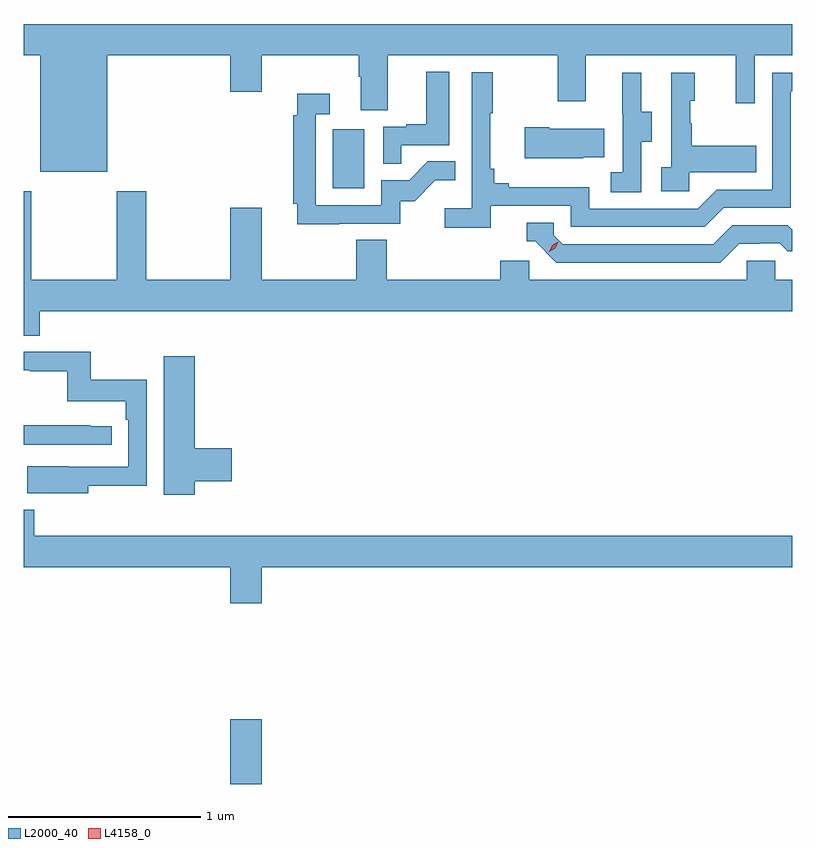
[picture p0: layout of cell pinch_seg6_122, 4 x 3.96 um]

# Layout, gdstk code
import gdstk
lib = gdstk.Library(unit=1e-6, precision=1e-09)
def R(c, l, rs):  # rectangles x0, y0, x1, y1
    for r in rs: c.add(gdstk.rectangle(r[:2], r[2:], *l))
def P(c, l, *ps):  # polygons
    for p in ps: c.add(gdstk.Polygon(p, *l))
L2000_40 = (2000, 40)
L4158_0 = (4158, 0)

pinch_seg6_122 = lib.new_cell('pinch_seg6_122')
R(pinch_seg6_122, L2000_40, [(980.192,932.886,980.356,933.223), (980.726,935.988,980.89,936.295)])
P(pinch_seg6_122, L2000_40, [(979.552,936.68),(980.192,936.68),(980.192,936.492),(980.356,936.492),(980.356,936.68),(980.861,936.68),(980.861,936.568),(980.873,936.568),(980.873,936.394),(981.013,936.394),(981.013,936.68),(981.898,936.68),(981.898,936.441),(982.045,936.441),(982.045,936.68),(982.826,936.68),(982.826,936.432),(982.923,936.432),(982.923,936.68),(983.118,936.68),(983.118,936.844),(979.118,936.844),(979.118,936.68),(979.202,936.68),(979.202,936.074),(979.552,936.074)],
  [(981.083,936.213),(981.334,936.213),(981.334,936.595),(981.212,936.595),(981.212,936.322),(981.109,936.322),(981.109,936.309),(980.988,936.309),(980.988,936.115),(981.083,936.115)],
  [(981.548,935.898),(981.966,935.898),(981.966,935.787),(982.663,935.787),(982.762,935.886),(983.112,935.886),(983.112,936.495),(983.118,936.495),(983.118,936.591),(983.016,936.591),(983.016,935.982),(982.725,935.982),(982.626,935.883),(982.062,935.883),(982.062,935.995),(981.643,935.995),(981.643,936.014),(981.566,936.014),(981.566,936.091),(981.547,936.091),(981.547,936.379),(981.559,936.379),(981.559,936.592),(981.45,936.592),(981.45,935.884),(981.309,935.884),(981.309,935.782),(981.548,935.782)],
  [(982.332,936.232),(982.387,936.232),(982.387,936.387),(982.333,936.387),(982.333,936.589),(982.235,936.589),(982.235,936.375),(982.236,936.375),(982.236,936.071),(982.173,936.071),(982.173,935.968),(982.332,935.968)],
  [(982.584,936.071),(982.931,936.071),(982.931,936.211),(982.597,936.211),(982.597,936.326),(982.587,936.326),(982.587,936.444),(982.612,936.444),(982.612,936.589),(982.488,936.589),(982.488,936.098),(982.437,936.098),(982.437,935.973),(982.584,935.973)],
  [(980.759,935.805),(981.078,935.805),(981.078,935.922),(981.154,935.922),(981.261,936.029),(981.365,936.029),(981.365,936.128),(981.222,936.128),(981.124,936.03),(980.979,936.03),(980.979,935.901),(980.637,935.901),(980.637,936.375),(980.71,936.375),(980.71,936.481),(980.54,936.481),(980.54,936.368),(980.521,936.368),(980.521,935.908),(980.54,935.908),(980.54,935.8),(980.759,935.8)],
  [(982.031,936.149),(982.139,936.149),(982.139,936.298),(981.853,936.298),(981.853,936.306),(981.725,936.306),(981.725,936.146),(982.031,936.146)],
  [(979.199,935.348),(983.118,935.348),(983.118,935.512),(983.031,935.512),(983.031,935.61),(982.881,935.61),(982.881,935.512),(981.75,935.512),(981.75,935.61),(981.599,935.61),(981.599,935.512),(981.008,935.512),(981.008,935.72),(980.848,935.72),(980.848,935.512),(980.356,935.512),(980.356,935.887),(980.192,935.887),(980.192,935.512),(979.755,935.512),(979.755,935.974),(979.6,935.974),(979.6,935.512),(979.155,935.512),(979.155,935.974),(979.118,935.974),(979.118,935.221),(979.199,935.221)],
  [(982.843,935.7),(982.95,935.7),(982.95,935.703),(983.053,935.703),(983.095,935.661),(983.118,935.661),(983.118,935.773),(983.095,935.796),(982.806,935.796),(982.707,935.697),(981.924,935.697),(981.876,935.745),(981.876,935.808),(981.737,935.808),(981.737,935.712),(981.78,935.712),(981.891,935.601),(982.744,935.601)],
  [(979.453,934.438),(979.758,934.438),(979.758,934.99),(979.465,934.99),(979.465,935.136),(979.118,935.136),(979.118,935.04),(979.147,935.04),(979.147,935.035),(979.344,935.035),(979.344,934.88),(979.649,934.88),(979.649,934.784),(979.662,934.784),(979.662,934.539),(979.349,934.539),(979.349,934.54),(979.135,934.54),(979.135,934.4),(979.453,934.4)],
  [(980.008,934.463),(980.2,934.463),(980.2,934.634),(980.008,934.634),(980.008,935.113),(979.847,935.113),(979.847,934.392),(980.008,934.392)],
  [(979.576,934.749),(979.463,934.749),(979.463,934.754),(979.118,934.754),(979.118,934.653),(979.576,934.653)],
  [(980.356,934.016),(983.118,934.016),(983.118,934.18),(979.172,934.18),(979.172,934.315),(979.118,934.315),(979.118,934.016),(980.192,934.016),(980.192,933.828),(980.356,933.828)])
P(pinch_seg6_122, L4158_0, [(981.854,935.658),(981.854,935.659),(981.87,935.691),(981.901,935.71),(981.901,935.71),(981.901,935.71),(981.885,935.677),(981.854,935.658)])

lib.write_gds('pinch_seg6_122.gds')
